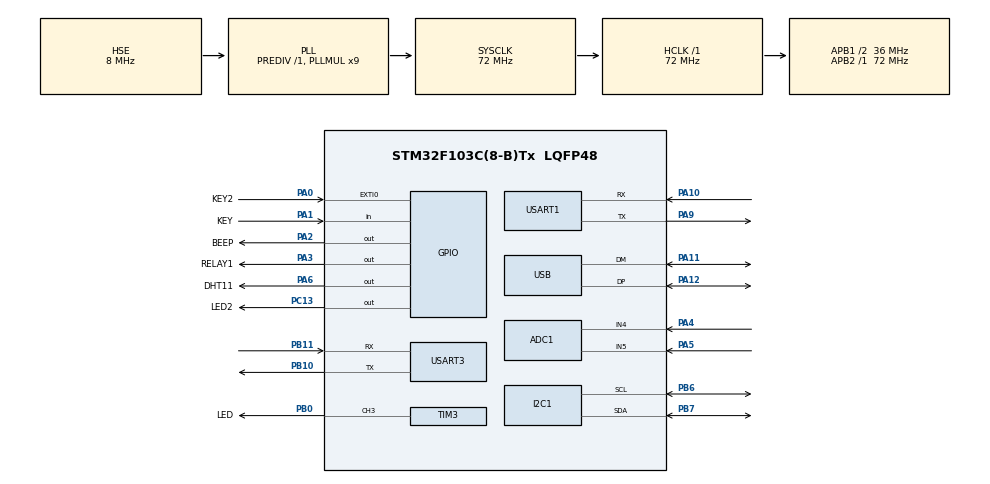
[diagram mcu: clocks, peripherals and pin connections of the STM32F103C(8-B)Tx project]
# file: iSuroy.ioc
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ADC1.Channel-3\#ChannelRegularConversion=ADC_CHANNEL_4
ADC1.Channel-4\#ChannelRegularConversion=ADC_CHANNEL_5
ADC1.ContinuousConvMode=ENABLE
ADC1.NbrOfConversion=2
ADC1.NbrOfConversionFlag=1
ADC1.Rank-3\#ChannelRegularConversion=1
ADC1.Rank-4\#ChannelRegularConversion=2
ADC1.SamplingTime-3\#ChannelRegularConversion=ADC_SAMPLETIME_55CYCLES_5
ADC1.SamplingTime-4\#ChannelRegularConversion=ADC_SAMPLETIME_55CYCLES_5
ADC1.master=1
Dma.ADC1.0.Direction=DMA_PERIPH_TO_MEMORY
Dma.ADC1.0.Instance=DMA1_Channel1
Dma.ADC1.0.MemDataAlignment=DMA_MDATAALIGN_HALFWORD
Dma.ADC1.0.MemInc=DMA_MINC_ENABLE
Dma.ADC1.0.Mode=DMA_CIRCULAR
Dma.ADC1.0.PeriphDataAlignment=DMA_PDATAALIGN_HALFWORD
Dma.ADC1.0.PeriphInc=DMA_PINC_DISABLE
Dma.ADC1.0.Priority=DMA_PRIORITY_HIGH
Dma.Request0=ADC1
Mcu.Family=STM32F1
Mcu.Name=STM32F103C(8-B)Tx
Mcu.Package=LQFP48
NVIC.DMA1_Channel1_IRQn=true\:0\:0\:false\:false\:true\:false\:true\:true
NVIC.EXTI0_IRQn=true\:1\:0\:true\:true\:true\:1\:true\:true\:true
NVIC.PriorityGroup=NVIC_PRIORITYGROUP_4
NVIC.TIM2_IRQn=true\:2\:0\:true\:false\:true\:true\:true\:true
NVIC.TIM3_IRQn=true\:3\:0\:true\:false\:true\:true\:true\:true
NVIC.USART1_IRQn=true\:1\:0\:true\:false\:true\:true\:true\:true
NVIC.USART3_IRQn=true\:0\:0\:true\:false\:true\:true\:true\:true
NVIC.USB_HP_CAN1_TX_IRQn=true\:0\:0\:false\:false\:true\:true\:true\:true
NVIC.USB_LP_CAN1_RX0_IRQn=true\:0\:0\:false\:false\:true\:false\:true\:true
PA0-WKUP.GPIO_Label=KEY2
PA0-WKUP.GPIO_ModeDefaultEXTI=GPIO_MODE_IT_FALLING
PA0-WKUP.GPIO_PuPd=GPIO_PULLUP
PA0-WKUP.Signal=GPXTI0
PA1.GPIO_Label=KEY
PA1.Signal=GPIO_Input
PA10.Mode=Asynchronous
PA10.Signal=USART1_RX
PA11.Mode=Device
PA11.Signal=USB_DM
PA12.Mode=Device
PA12.Signal=USB_DP
PA13.Mode=Serial_Wire
PA13.Signal=SYS_JTMS-SWDIO
PA14.Mode=Serial_Wire
PA14.Signal=SYS_JTCK-SWCLK
PA2.GPIO_Label=BEEP
PA2.GPIO_Speed=GPIO_SPEED_FREQ_HIGH
PA2.Signal=GPIO_Output
PA3.GPIO_Label=RELAY1
PA3.GPIO_Speed=GPIO_SPEED_FREQ_MEDIUM
PA3.Signal=GPIO_Output
PA4.Signal=ADCx_IN4
PA5.Signal=ADCx_IN5
PA6.GPIO_Label=DHT11
PA6.GPIO_Speed=GPIO_SPEED_FREQ_HIGH
PA6.PinState=GPIO_PIN_RESET
PA6.Signal=GPIO_Output
PA9.Mode=Asynchronous
PA9.Signal=USART1_TX
PB0.GPIO_Label=LED
PB0.GPIO_Speed=GPIO_SPEED_FREQ_HIGH
PB0.Signal=S_TIM3_CH3
PB10.Mode=Asynchronous
PB10.Signal=USART3_TX
PB11.Mode=Asynchronous
PB11.Signal=USART3_RX
PB6.Mode=I2C
PB6.Signal=I2C1_SCL
PB7.Mode=I2C
PB7.Signal=I2C1_SDA
PC13-TAMPER-RTC.GPIO_Label=LED2
PC13-TAMPER-RTC.GPIO_Speed=GPIO_SPEED_FREQ_HIGH
PC13-TAMPER-RTC.Signal=GPIO_Output
PC14-OSC32_IN.Mode=LSE-External-Oscillator
PC14-OSC32_IN.Signal=RCC_OSC32_IN
PC15-OSC32_OUT.Mode=LSE-External-Oscillator
PC15-OSC32_OUT.Signal=RCC_OSC32_OUT
PD0-OSC_IN.Mode=HSE-External-Oscillator
PD0-OSC_IN.Signal=RCC_OSC_IN
PD1-OSC_OUT.Mode=HSE-External-Oscillator
PD1-OSC_OUT.Signal=RCC_OSC_OUT
ProjectManager.HeapSize=0x1000
ProjectManager.StackSize=0x1000
ProjectManager.TargetToolchain=Makefile
RCC.ADCPresc=RCC_ADCPCLK2_DIV8
RCC.AHBFreq_Value=72000000
RCC.APB1CLKDivider=RCC_HCLK_DIV2
RCC.APB1Freq_Value=36000000
RCC.APB1TimFreq_Value=72000000
RCC.APB2Freq_Value=72000000
RCC.APB2TimFreq_Value=72000000
RCC.HCLKFreq_Value=72000000
RCC.PLLMUL=RCC_PLL_MUL9
RCC.PLLSourceVirtual=RCC_PLLSOURCE_HSE
RCC.RTCClockSelection=RCC_RTCCLKSOURCE_LSE
RCC.SYSCLKFreq_VALUE=72000000
RCC.SYSCLKSource=RCC_SYSCLKSOURCE_PLLCLK
RCC.USBFreq_Value=48000000
RCC.USBPrescaler=RCC_USBCLKSOURCE_PLL_DIV1_5
SH.ADCx_IN4.0=ADC1_IN4,IN4
SH.ADCx_IN5.0=ADC1_IN5,IN5
SH.S_TIM3_CH3.0=TIM3_CH3,PWM Generation3 CH3
TIM2.AutoReloadPreload=TIM_AUTORELOAD_PRELOAD_ENABLE
TIM2.Period=999
TIM2.Prescaler=7199
TIM3.AutoReloadPreload=TIM_AUTORELOAD_PRELOAD_ENABLE
TIM3.Channel-PWM\ Generation3\ CH3=TIM_CHANNEL_3
TIM3.Period=499
TIM3.Prescaler=71
USART1.VirtualMode=VM_ASYNC
USART3.VirtualMode=VM_ASYNC
USB_DEVICE.CLASS_NAME_FS=CDC
USB_DEVICE.PRODUCT_STRING_CDC_FS=STM32 Virtual ComPort by Suroy.cn
USB_DEVICE.VirtualMode=Cdc
USB_DEVICE.VirtualModeFS=Cdc_FS
VP_CRC_VS_CRC.Mode=CRC_Activate
VP_RTC_VS_RTC_Activate.Mode=RTC_Enabled
VP_RTC_VS_RTC_Calendar.Mode=RTC_Calendar
VP_TIM2_VS_ClockSourceINT.Mode=Internal
VP_TIM3_VS_ClockSourceINT.Mode=Internal
VP_USB_DEVICE_VS_USB_DEVICE_CDC_FS.Mode=CDC_FS
board=custom

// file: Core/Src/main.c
/* USER CODE BEGIN Header */
/**
  ******************************************************************************
  * @file           : main.c
  * @brief          : Main program body
  ******************************************************************************
  * @attention
  *
  * Copyright (c) 2023 STMicroelectronics.
  * All rights reserved.
  *
  * This software is licensed under terms that can be found in the LICENSE file
  * in the root directory of this software component.
  * If no LICENSE file comes with this software, it is provided AS-IS.
  *
  ******************************************************************************
  */
/* USER CODE END Header */
#include "main.h"
#include "adc.h"
#include "crc.h"
#include "dma.h"
#include "i2c.h"
#include "rtc.h"
#include "tim.h"
#include "usart.h"
#include "usb_device.h"
#include "gpio.h"

/* USER CODE BEGIN Includes */

#include "stdio.h"
#include "../../iCode/led/led.h"
#include "../../iCode/key/key.h"
#include "../../iCode/beep/beep.h"
#include "../../iCode/delay/delay.h"
#include "../../iCode/relay/relay.h"
#include "../../iCode/DHT11/dht11.h"
#include "../../USB_DEVICE/App/usbd_cdc_if.h"
#include "../../iCode/eco/eco.h"
#include "../../iCode/WIFI/wifi.h"
#include "../../iCode/aliyun/esp8266/esp8266.h"
#include "../../iCode/aliyun/iot/iot.h"
#include "../../iCode/OLED/oled.h"
/* USER CODE END Includes */

void SystemClock_Config(void);
static void MX_NVIC_Init(void);

int main(void)
{

  /* MCU Configuration--------------------------------------------------------*/

  /* Reset of all peripherals, Initializes the Flash interface and the Systick. */
  HAL_Init();

  /* Configure the system clock */
  SystemClock_Config();

  /* Initialize all configured peripherals */
  MX_GPIO_Init();
  MX_DMA_Init();
  MX_USART1_UART_Init();
  MX_ADC1_Init();
  MX_RTC_Init();
  MX_USB_DEVICE_Init();
  MX_CRC_Init();
  MX_TIM2_Init();
  MX_TIM3_Init();
  MX_USART3_UART_Init();
  MX_I2C1_Init();

  /* Initialize interrupts */
  MX_NVIC_Init();
  /* USER CODE BEGIN 2 */
  HAL_UART_Receive_IT(&huart1, (uint8_t *)&USART1_NewData, 1); //开启串口1接收中断：初始上电默认关闭状态
  HAL_UART_Receive_IT(&huart3, (uint8_t *)&USART3_NewData, 1); //开启WIFI-串口3接收中断：初始上电默认关闭状态
  HAL_ADCEx_Calibration_Start(&hadc1); //ADC采样校准
  // HAL_ADC_Start_DMA(&hadc1, (uint32_t *)&ADC1_Value, 1); // 单通道：启动DMA，采集到数据存入的变量地址，长度为1字节
  HAL_ADC_Start_DMA(&hadc1, (uint32_t *)ADC1_MulChannel_Value, 2); // 双通道：启动DMA，采集到数据存入的变量地址，长度为2字节

  HAL_TIM_Base_Start_IT(&htim2); //开启TIM定时器中断: 必须要先开启才能进入中断处理回调函数

  // ECO_STANDBY_Check(); // 节能：待机模式唤醒检测

  HAL_Delay(500); // 延时等待MCU稳定
  DHT11_Init();
  HAL_Delay(1500); // 延时等待DHT11稳定

  OLED_Debug(); // OLED显示

  // WIFI_Start(); // WIFI连接到TCP服务器

  // WIFI模块上云初始化
	//  while(esp8266_Connect_AP());//连接AP无线路由器热点（热点参数在esp8266.h。WIFI模块已保存热点时可屏蔽）
	while(esp8266_Connect_IOTServer());//AT指令连接TCP连接云服务器（IP和端口参数在esp8266.h文件内修改设置）
	while(IOT_connect());//用MQTT协议+三元组信息连接阿里云物联网平台（三元组参数在iot.h文件内修改设置）
	printf("订阅云服务器\r\n");
	HAL_Delay(100);//等待
	IOT_subscribe();//主题订阅（订阅成功后才能接收订阅消息）
	// PING_Counter=0xFFF0; //强制发送心跳包的计数溢出，立即重发心跳包

  /* USER CODE END 2 */

  /* Infinite loop */
  /* USER CODE BEGIN WHILE */
  // uint8_t RecData; // 接收输入字符
  printf("Retarget:\r\n");
  printf("-----Suroy.cn\r\n");

  while (1)
  {
    /* USER CODE END WHILE */

    /* USER CODE BEGIN 3 */
    // LED_Toggle();
    // LED_Ctr(1);
    // USART_IT_DEBUG();

    /*
    if(USART1_RX_STA&0xC000)
    { // 串口1判断接收中断标志位
      printf("[RX_BUF]: %s\r\n", USART1_RX_BUF); // 输出接收缓冲区内容
      if(USART1_RX_BUF[0]=='1')
      {
        Beep_Mid2();
      }
      if(USART1_RX_BUF[0]=='0')
      {
        Beep_Mid1();
      }
      USART1_RX_STA=0; // 串口接收标志清0
      USART1_RX_BUF[0]='\0'; // 置缓冲区为空
    }
   */

    LED_Check(0);

    // IOT云平台循环
    IOT_Work();

    // PWM控制LED
    PWM_Value = TIM_PWM_Set();

    // 普通RTC
    // RTC_Command(0, 0); // 时间及提示读取
    // RTC_Command(USART1_RX_BUF, 1); // 时间更改配置

    /**优化走时
     *
    RTC_Opt_Command(0, 0); // 时间及提示读取
    RTC_Opt_Command(USART1_RX_BUF, 1); // 时间更改配置
    */

    // 走时公共代码
    // printf("%s", USART1_RX_BUF);
    // printf("DateTime: %04d-%02d-%02d %02d:%02d:%02d \r\n", 2000+RtcDate.Year, RtcDate.Month, RtcDate.Date, RtcTime.Hours, RtcTime.Minutes, RtcTime.Seconds); // 显示日期时间
    // USART1_RX_STA=0; // 时钟测试：串口接收标志清0
    // USART1_RX_BUF[0]='\0'; // 置清空标志
    // HAL_Delay(200); // 延时200ms以防看不见测试效果

    // 节能模式
    // ECO_Config(1); // 睡眠
    // ECO_Config(2); // 停机
    // ECO_Config(3); // 待机

    //WIFI控制调试
    WIFI_CONTROL_Debug();

    // CRC 校验测试
    CRC_Debug();

    //读芯片ID
    ID_Get(1);

    // DHT11
    if(DHT11_ReadData(DHT11_BUF) == HAL_OK)
    {
      printf("DHT11: %02d%c - %02d 'C\r\n", DHT11_BUF[0], '%' , DHT11_BUF[1]); //02:23:24:024 -> DHT11: 81% - 12 'C
      HAL_Delay(1500);
    }

    // USB模拟串口
    USB_Debug();

    // DMA
    // printf("ADC1_DMA_0=%04d  ADC1_DMA_1=%04d\r\n", ADC1_MulChannel_Value[0], ADC1_MulChannel_Value[1]); //读取ADC1数值，4位十进制

    HAL_Delay(500);

  }
  /* USER CODE END 3 */
}

void SystemClock_Config(void)
{
  RCC_OscInitTypeDef RCC_OscInitStruct = {0};
  RCC_ClkInitTypeDef RCC_ClkInitStruct = {0};
  RCC_PeriphCLKInitTypeDef PeriphClkInit = {0};

  /** Initializes the RCC Oscillators according to the specified parameters
  * in the RCC_OscInitTypeDef structure.
  */
  RCC_OscInitStruct.OscillatorType = RCC_OSCILLATORTYPE_HSE|RCC_OSCILLATORTYPE_LSE;
  RCC_OscInitStruct.HSEState = RCC_HSE_ON;
  RCC_OscInitStruct.HSEPredivValue = RCC_HSE_PREDIV_DIV1;
  RCC_OscInitStruct.LSEState = RCC_LSE_ON;
  RCC_OscInitStruct.HSIState = RCC_HSI_ON;
  RCC_OscInitStruct.PLL.PLLState = RCC_PLL_ON;
  RCC_OscInitStruct.PLL.PLLSource = RCC_PLLSOURCE_HSE;
  RCC_OscInitStruct.PLL.PLLMUL = RCC_PLL_MUL9;
  if (HAL_RCC_OscConfig(&RCC_OscInitStruct) != HAL_OK)
  {
    Error_Handler();
  }

  /** Initializes the CPU, AHB and APB buses clocks
  */
  RCC_ClkInitStruct.ClockType = RCC_CLOCKTYPE_HCLK|RCC_CLOCKTYPE_SYSCLK
                              |RCC_CLOCKTYPE_PCLK1|RCC_CLOCKTYPE_PCLK2;
  RCC_ClkInitStruct.SYSCLKSource = RCC_SYSCLKSOURCE_PLLCLK;
  RCC_ClkInitStruct.AHBCLKDivider = RCC_SYSCLK_DIV1;
  RCC_ClkInitStruct.APB1CLKDivider = RCC_HCLK_DIV2;
  RCC_ClkInitStruct.APB2CLKDivider = RCC_HCLK_DIV1;

  if (HAL_RCC_ClockConfig(&RCC_ClkInitStruct, FLASH_LATENCY_2) != HAL_OK)
  {
    Error_Handler();
  }
  PeriphClkInit.PeriphClockSelection = RCC_PERIPHCLK_RTC|RCC_PERIPHCLK_ADC
                              |RCC_PERIPHCLK_USB;
  PeriphClkInit.RTCClockSelection = RCC_RTCCLKSOURCE_LSE;
  PeriphClkInit.AdcClockSelection = RCC_ADCPCLK2_DIV8;
  PeriphClkInit.UsbClockSelection = RCC_USBCLKSOURCE_PLL_DIV1_5;
  if (HAL_RCCEx_PeriphCLKConfig(&PeriphClkInit) != HAL_OK)
  {
    Error_Handler();
  }
}

/**
  * @brief NVIC Configuration.
  * @retval None
  */
static void MX_NVIC_Init(void)
{
  /* EXTI0_IRQn interrupt configuration */
  HAL_NVIC_SetPriority(EXTI0_IRQn, 1, 0);
  HAL_NVIC_EnableIRQ(EXTI0_IRQn);
}

void Error_Handler(void)
{
  __disable_irq();
  while (1)
  {
  }
}
